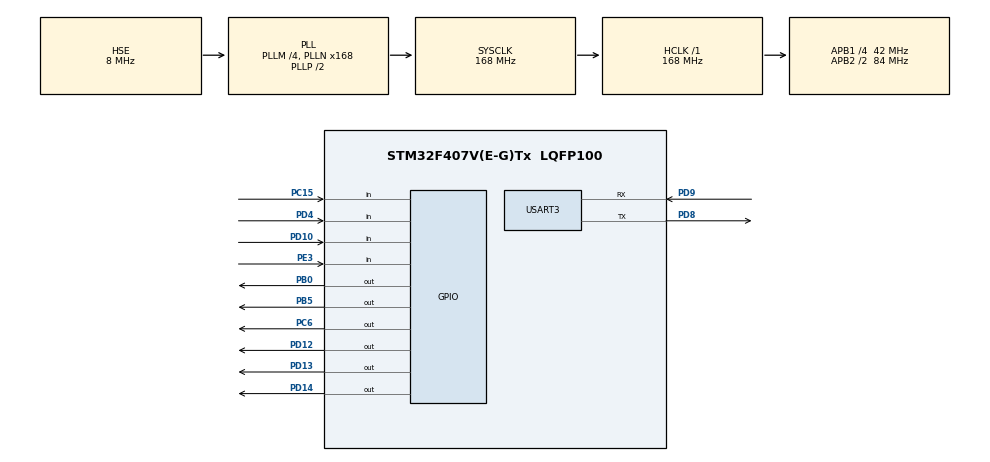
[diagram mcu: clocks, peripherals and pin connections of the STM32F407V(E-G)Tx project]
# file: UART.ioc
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Mcu.Family=STM32F4
Mcu.Name=STM32F407V(E-G)Tx
Mcu.Package=LQFP100
NVIC.PriorityGroup=NVIC_PRIORITYGROUP_4
NVIC.USART3_IRQn=true\:0\:0\:false\:true\:true\:1\:true\:true\:true
PB0.Signal=GPIO_Output
PB5.Signal=GPIO_Output
PC15-OSC32_OUT.Signal=GPIO_Input
PC6.Signal=GPIO_Output
PD10.Signal=GPIO_Input
PD12.Signal=GPIO_Output
PD13.Signal=GPIO_Output
PD14.Signal=GPIO_Output
PD4.Signal=GPIO_Input
PD8.Mode=Asynchronous
PD8.Signal=USART3_TX
PD9.Mode=Asynchronous
PD9.Signal=USART3_RX
PE3.Signal=GPIO_Input
PH0-OSC_IN.Mode=HSE-External-Oscillator
PH0-OSC_IN.Signal=RCC_OSC_IN
PH1-OSC_OUT.Mode=HSE-External-Oscillator
PH1-OSC_OUT.Signal=RCC_OSC_OUT
ProjectManager.HeapSize=0x200
ProjectManager.StackSize=0x400
ProjectManager.TargetToolchain=STM32CubeIDE
RCC.48MHZClocksFreq_Value=84000000
RCC.AHBFreq_Value=168000000
RCC.APB1CLKDivider=RCC_HCLK_DIV4
RCC.APB1Freq_Value=42000000
RCC.APB1TimFreq_Value=84000000
RCC.APB2CLKDivider=RCC_HCLK_DIV2
RCC.APB2Freq_Value=84000000
RCC.APB2TimFreq_Value=168000000
RCC.CortexFreq_Value=168000000
RCC.HCLKFreq_Value=168000000
RCC.HSE_VALUE=8000000
RCC.HSI_VALUE=16000000
RCC.LSE_VALUE=32768
RCC.PLLM=4
RCC.PLLN=168
RCC.PLLSourceVirtual=RCC_PLLSOURCE_HSE
RCC.SYSCLKFreq_VALUE=168000000
RCC.SYSCLKSource=RCC_SYSCLKSOURCE_PLLCLK
RCC.VCOOutputFreq_Value=336000000
USART3.VirtualMode=VM_ASYNC
board=custom

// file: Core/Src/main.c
/* USER CODE BEGIN Header */
/**
  ******************************************************************************
  * @file           : main.c
  * @brief          : Main program body
  ******************************************************************************
  * @attention
  *
  * Copyright (c) 2025 STMicroelectronics.
  * All rights reserved.
  *
  * This software is licensed under terms that can be found in the LICENSE file
  * in the root directory of this software component.
  * If no LICENSE file comes with this software, it is provided AS-IS.
  *
  ******************************************************************************
  */
/* USER CODE END Header */
#include "main.h"

/* USER CODE BEGIN Includes */
#include <stdio.h>
/* USER CODE END Includes */

UART_HandleTypeDef huart3;

/* USER CODE BEGIN PV */
uint8_t rx3_data[5];
/* USER CODE END PV */

void SystemClock_Config(void);
static void MX_GPIO_Init(void);
static void MX_USART3_UART_Init(void);
static void MX_NVIC_Init(void);
/* USER CODE BEGIN PFP */

int _write(int file, char* p, int len){
	HAL_UART_Transmit(&huart3, p, len, 10);
	return len;
}

/* USER CODE END PFP */

int main(void)
{

  /* MCU Configuration--------------------------------------------------------*/

  /* Reset of all peripherals, Initializes the Flash interface and the Systick. */
  HAL_Init();

  /* Configure the system clock */
  SystemClock_Config();

  /* Initialize all configured peripherals */
  MX_GPIO_Init();
  MX_USART3_UART_Init();

  /* Initialize interrupts */
  MX_NVIC_Init();
  /* USER CODE BEGIN 2 */
  HAL_GPIO_WritePin(GPIOC, GPIO_PIN_6, GPIO_PIN_SET);
  HAL_GPIO_WritePin(GPIOB, GPIO_PIN_0, GPIO_PIN_SET);
  HAL_GPIO_WritePin(GPIOB, GPIO_PIN_5, GPIO_PIN_SET);

  HAL_GPIO_WritePin(GPIOD, GPIO_PIN_12, GPIO_PIN_SET);
  HAL_GPIO_WritePin(GPIOD, GPIO_PIN_13, GPIO_PIN_SET);
  HAL_GPIO_WritePin(GPIOD, GPIO_PIN_14, GPIO_PIN_SET);

  HAL_UART_Receive_IT(&huart3, &rx3_data, sizeof(rx3_data));

  /* USER CODE END 2 */

  /* Infinite loop */
  /* USER CODE BEGIN WHILE */

  uint8_t a = 0;
  float f = 1.234;
  while (1)
  {

	/*if(HAL_UART_Receive(&huart3, &a, sizeof(a), 10) == HAL_OK){
		HAL_UART_Transmit(&huart3, &a, sizeof(a), 10);
	}
	*/

	 printf("Hello %d %f\n", a++, f);
	 HAL_Delay(1000);

    /* USER CODE END WHILE */

  }
}

void SystemClock_Config(void)
{
  RCC_OscInitTypeDef RCC_OscInitStruct = {0};
  RCC_ClkInitTypeDef RCC_ClkInitStruct = {0};

  /** Configure the main internal regulator output voltage
  */
  __HAL_RCC_PWR_CLK_ENABLE();
  __HAL_PWR_VOLTAGESCALING_CONFIG(PWR_REGULATOR_VOLTAGE_SCALE1);

  /** Initializes the RCC Oscillators according to the specified parameters
  * in the RCC_OscInitTypeDef structure.
  */
  RCC_OscInitStruct.OscillatorType = RCC_OSCILLATORTYPE_HSE;
  RCC_OscInitStruct.HSEState = RCC_HSE_ON;
  RCC_OscInitStruct.PLL.PLLState = RCC_PLL_ON;
  RCC_OscInitStruct.PLL.PLLSource = RCC_PLLSOURCE_HSE;
  RCC_OscInitStruct.PLL.PLLM = 4;
  RCC_OscInitStruct.PLL.PLLN = 168;
  RCC_OscInitStruct.PLL.PLLP = RCC_PLLP_DIV2;
  RCC_OscInitStruct.PLL.PLLQ = 4;
  if (HAL_RCC_OscConfig(&RCC_OscInitStruct) != HAL_OK)
  {
    Error_Handler();
  }

  /** Initializes the CPU, AHB and APB buses clocks
  */
  RCC_ClkInitStruct.ClockType = RCC_CLOCKTYPE_HCLK|RCC_CLOCKTYPE_SYSCLK
                              |RCC_CLOCKTYPE_PCLK1|RCC_CLOCKTYPE_PCLK2;
  RCC_ClkInitStruct.SYSCLKSource = RCC_SYSCLKSOURCE_PLLCLK;
  RCC_ClkInitStruct.AHBCLKDivider = RCC_SYSCLK_DIV1;
  RCC_ClkInitStruct.APB1CLKDivider = RCC_HCLK_DIV4;
  RCC_ClkInitStruct.APB2CLKDivider = RCC_HCLK_DIV2;

  if (HAL_RCC_ClockConfig(&RCC_ClkInitStruct, FLASH_LATENCY_5) != HAL_OK)
  {
    Error_Handler();
  }
}

/**
  * @brief NVIC Configuration.
  * @retval None
  */
static void MX_NVIC_Init(void)
{
  /* USART3_IRQn interrupt configuration */
  HAL_NVIC_SetPriority(USART3_IRQn, 0, 0);
  HAL_NVIC_EnableIRQ(USART3_IRQn);
}

static void MX_USART3_UART_Init(void)
{

  huart3.Instance = USART3;
  huart3.Init.BaudRate = 115200;
  huart3.Init.WordLength = UART_WORDLENGTH_8B;
  huart3.Init.StopBits = UART_STOPBITS_1;
  huart3.Init.Parity = UART_PARITY_NONE;
  huart3.Init.Mode = UART_MODE_TX_RX;
  huart3.Init.HwFlowCtl = UART_HWCONTROL_NONE;
  huart3.Init.OverSampling = UART_OVERSAMPLING_16;
  if (HAL_UART_Init(&huart3) != HAL_OK)
  {
    Error_Handler();
  }

}

static void MX_GPIO_Init(void)
{
  GPIO_InitTypeDef GPIO_InitStruct = {0};

  /* GPIO Ports Clock Enable */
  __HAL_RCC_GPIOE_CLK_ENABLE();
  __HAL_RCC_GPIOC_CLK_ENABLE();
  __HAL_RCC_GPIOH_CLK_ENABLE();
  __HAL_RCC_GPIOB_CLK_ENABLE();
  __HAL_RCC_GPIOD_CLK_ENABLE();

  /*Configure GPIO pin Output Level */
  HAL_GPIO_WritePin(GPIOB, GPIO_PIN_0|GPIO_PIN_5, GPIO_PIN_RESET);

  /*Configure GPIO pin Output Level */
  HAL_GPIO_WritePin(GPIOD, GPIO_PIN_12|GPIO_PIN_13|GPIO_PIN_14, GPIO_PIN_RESET);

  /*Configure GPIO pin Output Level */
  HAL_GPIO_WritePin(GPIOC, GPIO_PIN_6, GPIO_PIN_RESET);

  /*Configure GPIO pin : PE3 */
  GPIO_InitStruct.Pin = GPIO_PIN_3;
  GPIO_InitStruct.Mode = GPIO_MODE_INPUT;
  GPIO_InitStruct.Pull = GPIO_NOPULL;
  HAL_GPIO_Init(GPIOE, &GPIO_InitStruct);

  /*Configure GPIO pin : PC15 */
  GPIO_InitStruct.Pin = GPIO_PIN_15;
  GPIO_InitStruct.Mode = GPIO_MODE_INPUT;
  GPIO_InitStruct.Pull = GPIO_NOPULL;
  HAL_GPIO_Init(GPIOC, &GPIO_InitStruct);

  /*Configure GPIO pins : PB0 PB5 */
  GPIO_InitStruct.Pin = GPIO_PIN_0|GPIO_PIN_5;
  GPIO_InitStruct.Mode = GPIO_MODE_OUTPUT_PP;
  GPIO_InitStruct.Pull = GPIO_NOPULL;
  GPIO_InitStruct.Speed = GPIO_SPEED_FREQ_LOW;
  HAL_GPIO_Init(GPIOB, &GPIO_InitStruct);

  /*Configure GPIO pins : PD10 PD4 */
  GPIO_InitStruct.Pin = GPIO_PIN_10|GPIO_PIN_4;
  GPIO_InitStruct.Mode = GPIO_MODE_INPUT;
  GPIO_InitStruct.Pull = GPIO_NOPULL;
  HAL_GPIO_Init(GPIOD, &GPIO_InitStruct);

  /*Configure GPIO pins : PD12 PD13 PD14 */
  GPIO_InitStruct.Pin = GPIO_PIN_12|GPIO_PIN_13|GPIO_PIN_14;
  GPIO_InitStruct.Mode = GPIO_MODE_OUTPUT_PP;
  GPIO_InitStruct.Pull = GPIO_NOPULL;
  GPIO_InitStruct.Speed = GPIO_SPEED_FREQ_LOW;
  HAL_GPIO_Init(GPIOD, &GPIO_InitStruct);

  /*Configure GPIO pin : PC6 */
  GPIO_InitStruct.Pin = GPIO_PIN_6;
  GPIO_InitStruct.Mode = GPIO_MODE_OUTPUT_PP;
  GPIO_InitStruct.Pull = GPIO_NOPULL;
  GPIO_InitStruct.Speed = GPIO_SPEED_FREQ_LOW;
  HAL_GPIO_Init(GPIOC, &GPIO_InitStruct);

}

/* USER CODE BEGIN 4 */
void HAL_UART_RxCpltCallback(UART_HandleTypeDef *huart)
{
	if(huart->Instance == USART3){
		HAL_UART_Receive_IT(&huart3, &rx3_data, sizeof(rx3_data));
		HAL_UART_Transmit(&huart3, &rx3_data, sizeof(rx3_data), 10);
	}
}
/* USER CODE END 4 */

void Error_Handler(void)
{
  __disable_irq();
  while (1)
  {
  }
}
